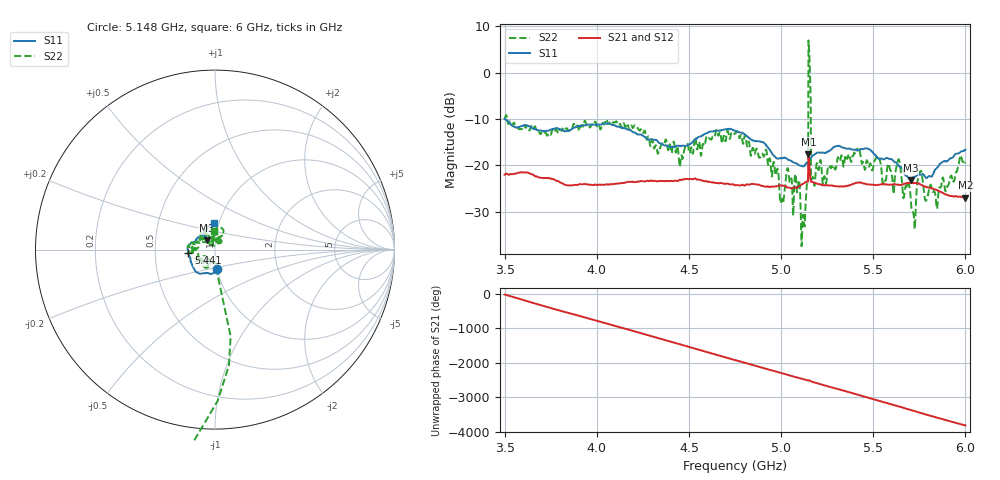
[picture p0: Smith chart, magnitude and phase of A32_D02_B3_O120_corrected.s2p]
! Created with skrf 1.9.0 (http://scikit-rf.org).
# Hz S RI R 50.0
!freq ReS11 ImS11 ReS21 ImS21 ReS12 ImS12 ReS22 ImS22
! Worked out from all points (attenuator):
!   1601 points, 3.5 GHz to 6 GHz, reference 50 ohm
!   highest |S21| = -17.57 dB at 5.148 GHz (marker M1); lowest = -27.0 dB at 6 GHz (marker M2)
!   lowest |S11| = -23.2 dB at 5.703 GHz (marker M3), VSWR 1.15, Z = 45.3 + j4.64 ohm
!   |S11| at or under -10 dB: 3.502 GHz to end of sweep
!   |S22| runs from -37.4 to 6.9 dB; largest |S21 - S12| = 0.00099
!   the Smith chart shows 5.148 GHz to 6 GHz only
!   S11 on the Smith chart (normalised r, x): 5.148 GHz: 1.00, -0.22; 5.441 GHz: 0.74, -0.03; 6 GHz: 0.94, +0.28
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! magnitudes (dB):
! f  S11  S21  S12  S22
! 3.5 GHz  -9.9  -22.0  -22.0  -10.1
! 3.917 GHz  -11.5  -24.1  -24.1  -11.3
! 4.334 GHz  -15.0  -23.4  -23.3  -17.2
! 4.75 GHz  -12.6  -24.3  -24.2  -13.1
! 4.927 GHz  -16.0  -24.5  -24.5  -18.9
! 5.005 GHz  -18.4  -24.3  -24.3  -27.3
! 5.034 GHz  -18.7  -24.8  -24.7  -20.7
! 5.088 GHz  -19.7  -24.7  -24.7  -25.8
! 5.119 GHz  -20.2  -24.0  -23.9  -30.6
! 5.134 GHz  -19.7  -23.6  -23.5  -27.5
! 5.148 GHz  -19.1  -17.6  -17.6  6.9
! 5.161 GHz  -18.4  -23.1  -23.0  -6.2
! 5.167 GHz  -18.1  -23.6  -23.5  -22.9
! 5.175 GHz  -17.8  -23.6  -23.6  -22.8
! 5.441 GHz  -16.5  -23.8  -23.8  -19.6
! 5.584 GHz  -18.6  -24.2  -24.1  -19.7
! 5.638 GHz  -20.0  -24.1  -24.1  -18.7
! 5.703 GHz  -23.2  -23.8  -23.8  -27.0
! 5.719 GHz  -22.5  -23.8  -23.7  -30.5
! 5.753 GHz  -22.0  -24.1  -24.0  -21.4
! 5.842 GHz  -20.7  -25.3  -25.2  -28.3
! 6 GHz  -16.6  -27.0  -26.9  -19.6
